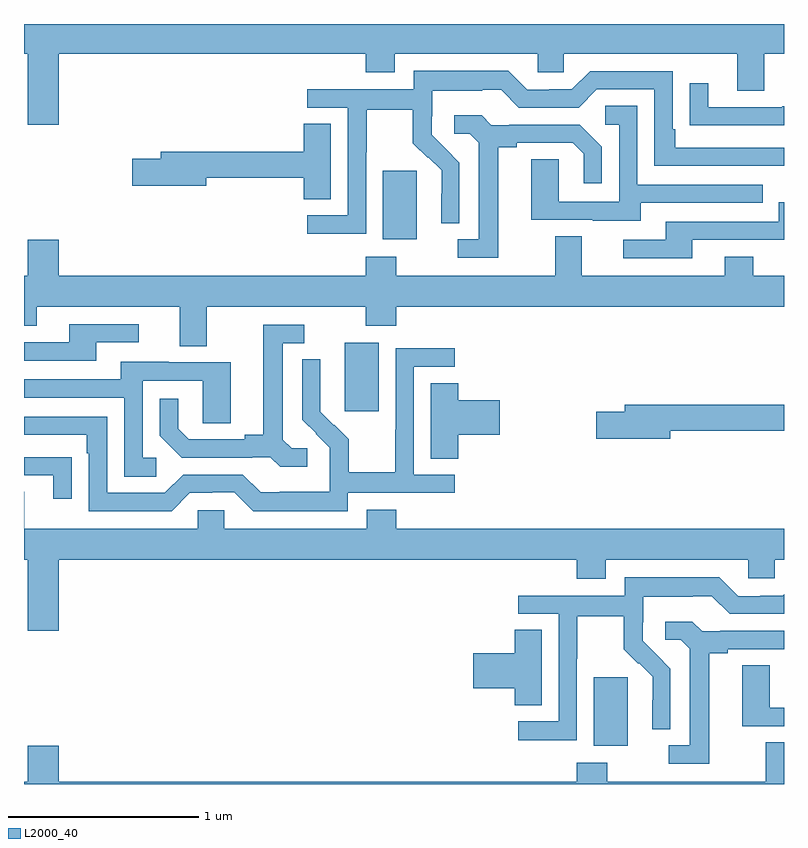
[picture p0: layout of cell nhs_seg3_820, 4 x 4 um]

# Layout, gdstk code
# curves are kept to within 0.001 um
import gdstk
lib = gdstk.Library(unit=1e-6, precision=1e-09)
def R(c, l, rs):  # rectangles x0, y0, x1, y1
    for r in rs: c.add(gdstk.rectangle(r[:2], r[2:], *l))
def P(c, l, *ps):  # polygons
    for p in ps: c.add(gdstk.Polygon(p, *l))
L2000_40 = (2000, 40)

nhs_seg3_820 = lib.new_cell('nhs_seg3_820')
R(nhs_seg3_820, L2000_40, [(155.999,702.602,156.178,702.963), (154.688,704.361,154.867,704.722), (154.889,705.266,155.068,705.627)])
P(nhs_seg3_820, L2000_40, [(153.184,706.244),(154.799,706.244),(154.799,706.145),(154.951,706.145),(154.951,706.244),(155.703,706.244),(155.703,706.146),(155.841,706.146),(155.841,706.244),(156.755,706.244),(156.755,706.05),(156.895,706.05),(156.895,706.244),(157,706.244),(157,706.4),(153,706.4),(153,706.244),(153.02,706.244),(153.02,705.87),(153.184,705.87)],
  [(154.8,705.724),(154.803,705.724),(154.803,705.948),(155.047,705.948),(155.047,705.773),(155.124,705.696),(155.127,705.699),(155.198,705.629),(155.198,705.506),(155.196,705.506),(155.196,705.352),(155.292,705.352),(155.292,705.67),(155.146,705.818),(155.146,705.915),(155.148,705.915),(155.148,706.049),(155.411,706.049),(155.411,706.053),(155.511,706.053),(155.604,705.96),(155.919,705.96),(156.015,706.056),(156.318,706.056),(156.318,705.654),(157,705.654),(157,705.75),(156.427,705.75),(156.427,705.847),(156.414,705.847),(156.414,706.152),(155.979,706.152),(155.883,706.056),(155.765,706.056),(155.765,706.053),(155.649,706.053),(155.549,706.153),(155.052,706.153),(155.052,706.056),(154.491,706.056),(154.491,705.96),(154.704,705.96),(154.704,705.393),(154.491,705.393),(154.491,705.295),(154.8,705.295)],
  [(157,705.968),(156.991,705.968),(156.991,705.963),(156.601,705.963),(156.601,706.087),(156.505,706.087),(156.505,705.868),(156.607,705.868),(156.607,705.867),(157,705.867)],
  [(156.247,705.459),(156.887,705.459),(156.887,705.555),(156.228,705.555),(156.228,705.971),(156.06,705.971),(156.06,705.87),(156.132,705.87),(156.132,705.465),(155.814,705.465),(155.814,705.689),(155.669,705.689),(155.669,705.369),(155.993,705.369),(155.993,705.365),(156.247,705.365)],
  [(155.497,705.752),(155.593,705.752),(155.593,705.774),(155.888,705.774),(155.945,705.717),(155.945,705.561),(156.042,705.561),(156.042,705.754),(155.926,705.87),(155.554,705.87),(155.554,705.867),(155.46,705.867),(155.408,705.919),(155.265,705.919),(155.265,705.822),(155.346,705.822),(155.393,705.775),(155.393,705.267),(155.283,705.267),(155.283,705.171),(155.497,705.171)],
  [(154.615,705.875),(154.472,705.875),(154.472,705.728),(153.719,705.728),(153.719,705.692),(153.57,705.692),(153.57,705.55),(153.958,705.55),(153.958,705.592),(154.472,705.592),(154.472,705.478),(154.615,705.478)],
  [(156.517,705.264),(157,705.264),(157,705.463),(156.972,705.463),(156.972,705.36),(156.377,705.36),(156.377,705.264),(156.153,705.264),(156.153,705.168),(156.517,705.168)],
  [(153.961,704.912),(154.798,704.912),(154.798,704.813),(154.958,704.813),(154.958,704.912),(157,704.912),(157,705.076),(156.837,705.076),(156.837,705.175),(156.689,705.175),(156.689,705.076),(155.935,705.076),(155.935,705.284),(155.795,705.284),(155.795,705.076),(154.959,705.076),(154.959,705.175),(154.799,705.175),(154.799,705.076),(153.184,705.076),(153.184,705.265),(153.02,705.265),(153.02,705.076),(153,705.076),(153,704.813),(153.067,704.813),(153.067,704.912),(153.821,704.912),(153.821,704.704),(153.961,704.704)],
  [(153.379,704.724),(153.604,704.724),(153.604,704.82),(153.239,704.82),(153.239,704.724),(153,704.724),(153,704.628),(153.379,704.628)],
  [(154.492,704.166),(154.41,704.166),(154.363,704.213),(154.363,704.721),(154.474,704.721),(154.474,704.817),(154.259,704.817),(154.259,704.237),(154.163,704.237),(154.163,704.214),(153.868,704.214),(153.811,704.271),(153.811,704.428),(153.714,704.428),(153.714,704.234),(153.83,704.118),(154.202,704.118),(154.202,704.121),(154.296,704.121),(154.348,704.069),(154.492,704.069)],
  [(154.704,703.932),(155.266,703.932),(155.266,704.028),(155.052,704.028),(155.052,704.595),(155.266,704.595),(155.266,704.694),(154.956,704.694),(154.956,704.264),(154.954,704.264),(154.954,704.041),(154.709,704.041),(154.709,704.215),(154.632,704.292),(154.629,704.289),(154.559,704.36),(154.56,704.636),(154.464,704.636),(154.464,704.318),(154.61,704.17),(154.61,704.073),(154.608,704.073),(154.608,703.939),(154.345,703.939),(154.345,703.935),(154.245,703.935),(154.152,704.028),(153.837,704.028),(153.741,703.932),(153.438,703.932),(153.438,704.334),(153,704.334),(153,704.238),(153.329,704.238),(153.329,704.141),(153.342,704.141),(153.342,703.836),(153.777,703.836),(153.873,703.932),(153.992,703.932),(153.992,703.935),(154.107,703.935),(154.207,703.835),(154.704,703.835)],
  [(153.697,704.118),(153.624,704.118),(153.624,704.523),(153.942,704.523),(153.942,704.299),(154.087,704.299),(154.087,704.619),(153.763,704.619),(153.763,704.623),(153.509,704.623),(153.509,704.529),(153,704.529),(153,704.433),(153.528,704.433),(153.528,704.017),(153.697,704.017)],
  [(155.285,704.237),(155.503,704.237),(155.503,704.42),(155.285,704.42),(155.285,704.51),(155.141,704.51),(155.141,704.113),(155.285,704.113)],
  [(156.4,704.26),(157,704.26),(157,704.396),(156.161,704.396),(156.161,704.36),(156.012,704.36),(156.012,704.218),(156.4,704.218)],
  [(153.251,704.12),(153.149,704.12),(153.149,704.121),(153,704.121),(153,704.025),(153.155,704.025),(153.155,703.902),(153.251,703.902)],
  [(153.184,703.58),(155.909,703.58),(155.909,703.481),(156.061,703.481),(156.061,703.58),(156.813,703.58),(156.813,703.482),(156.951,703.482),(156.951,703.58),(157,703.58),(157,703.744),(154.958,703.744),(154.958,703.843),(154.805,703.843),(154.805,703.744),(154.053,703.744),(154.053,703.842),(153.915,703.842),(153.915,703.744),(153.001,703.744),(153.001,703.939),(153,703.939),(153,703.58),(153.02,703.58),(153.02,703.206),(153.184,703.206)],
  [(155.91,703.06),(155.913,703.06),(155.913,703.284),(156.157,703.284),(156.157,703.109),(156.234,703.032),(156.237,703.035),(156.308,702.965),(156.308,702.842),(156.306,702.842),(156.306,702.688),(156.402,702.688),(156.402,703.006),(156.256,703.154),(156.256,703.251),(156.258,703.251),(156.258,703.385),(156.521,703.385),(156.521,703.389),(156.621,703.389),(156.714,703.296),(157,703.296),(157,703.399),(156.993,703.392),(156.875,703.392),(156.875,703.389),(156.759,703.389),(156.659,703.489),(156.162,703.489),(156.162,703.392),(155.601,703.392),(155.601,703.296),(155.814,703.296),(155.814,702.729),(155.601,702.729),(155.601,702.631),(155.91,702.631)],
  [(156.607,703.088),(156.703,703.088),(156.703,703.11),(156.998,703.11),(157,703.108),(157,703.206),(156.664,703.206),(156.664,703.203),(156.57,703.203),(156.518,703.255),(156.375,703.255),(156.375,703.158),(156.456,703.158),(156.503,703.111),(156.503,702.603),(156.393,702.603),(156.393,702.507),(156.607,702.507)],
  [(155.725,703.211),(155.582,703.211),(155.582,703.088),(155.364,703.088),(155.364,702.905),(155.582,702.905),(155.582,702.814),(155.725,702.814)],
  [(157,702.801),(156.924,702.801),(156.924,703.025),(156.779,703.025),(156.779,702.705),(157,702.705)],
  [(157,702.62),(156.905,702.62),(156.905,702.412),(156.069,702.412),(156.069,702.511),(155.909,702.511),(155.909,702.412),(153.184,702.412),(153.184,702.601),(153.02,702.601),(153.02,702.412),(153,702.412),(153,702.4),(157,702.4)])

lib.write_gds('nhs_seg3_820.gds')
